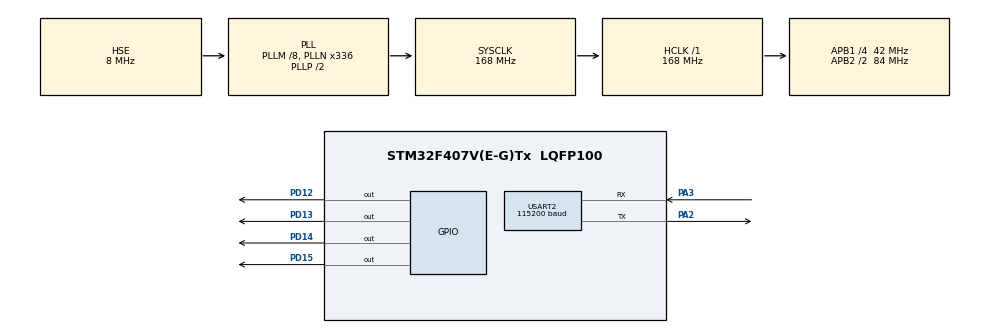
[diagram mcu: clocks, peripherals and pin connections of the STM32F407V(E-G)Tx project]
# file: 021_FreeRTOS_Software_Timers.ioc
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FREERTOS.Tasks01=defaultTask,24,128,StartDefaultTask,Default,NULL,Dynamic,NULL,NULL
FREERTOS.configUSE_NEWLIB_REENTRANT=1
Mcu.Family=STM32F4
Mcu.Name=STM32F407V(E-G)Tx
Mcu.Package=LQFP100
NVIC.PriorityGroup=NVIC_PRIORITYGROUP_4
NVIC.TIM8_TRG_COM_TIM14_IRQn=true\:15\:0\:false\:false\:true\:false\:false\:true\:true
NVIC.TimeBase=TIM8_TRG_COM_TIM14_IRQn
NVIC.TimeBaseIP=TIM14
NVIC.USART2_IRQn=true\:5\:0\:false\:false\:true\:true\:true\:true\:true
PA2.Mode=Asynchronous
PA2.Signal=USART2_TX
PA3.Mode=Asynchronous
PA3.Signal=USART2_RX
PD12.Signal=GPIO_Output
PD13.Signal=GPIO_Output
PD14.Signal=GPIO_Output
PD15.Signal=GPIO_Output
PH0-OSC_IN.Mode=HSE-External-Oscillator
PH0-OSC_IN.Signal=RCC_OSC_IN
PH1-OSC_OUT.Mode=HSE-External-Oscillator
PH1-OSC_OUT.Signal=RCC_OSC_OUT
ProjectManager.HeapSize=0x200
ProjectManager.StackSize=0x400
ProjectManager.TargetToolchain=STM32CubeIDE
RCC.48MHZClocksFreq_Value=48000000
RCC.AHBFreq_Value=168000000
RCC.APB1CLKDivider=RCC_HCLK_DIV4
RCC.APB1Freq_Value=42000000
RCC.APB1TimFreq_Value=84000000
RCC.APB2CLKDivider=RCC_HCLK_DIV2
RCC.APB2Freq_Value=84000000
RCC.APB2TimFreq_Value=168000000
RCC.CortexFreq_Value=168000000
RCC.HCLKFreq_Value=168000000
RCC.HSE_VALUE=8000000
RCC.HSI_VALUE=16000000
RCC.LSE_VALUE=32768
RCC.PLLM=8
RCC.PLLN=336
RCC.PLLQ=7
RCC.PLLSourceVirtual=RCC_PLLSOURCE_HSE
RCC.SYSCLKFreq_VALUE=168000000
RCC.SYSCLKSource=RCC_SYSCLKSOURCE_PLLCLK
RCC.VCOOutputFreq_Value=336000000
USART2.BaudRate=115200
USART2.VirtualMode=VM_ASYNC
VP_FREERTOS_VS_CMSIS_V2.Mode=CMSIS_V2
VP_SYS_VS_tim14.Mode=TIM14
board=STM32F407G-DISC1

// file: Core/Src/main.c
/* USER CODE BEGIN Header */
/**
  ******************************************************************************
  * @file           : main.c
  * @brief          : Main program body
  ******************************************************************************
  * @attention
  *
  * Copyright (c) 2023 STMicroelectronics.
  * All rights reserved.
  *
  * This software is licensed under terms that can be found in the LICENSE file
  * in the root directory of this software component.
  * If no LICENSE file comes with this software, it is provided AS-IS.
  *
  ******************************************************************************
  */
/* USER CODE END Header */
#include "main.h"

/* USER CODE BEGIN Includes */
#include "FreeRTOS.h"
#include "task.h"
#include "timers.h"
#include "queue.h"
#include <string.h>
#include <stdio.h>
/* USER CODE END Includes */

/* USER CODE BEGIN PD */
#define mainONE_SHOT_TIMER_PERIOD		pdMS_TO_TICKS( 3333 )
#define mainAUTO_RELOAD_TIMER_PERIOD	pdMS_TO_TICKS( 500 )
/* USER CODE END PD */

UART_HandleTypeDef huart2;

/* Definitions for defaultTask */

/* USER CODE BEGIN PV */
TimerHandle_t xAutoReloadTimer, xOneShotTimer;
BaseType_t xTimer1Started, xTimer2Started;
uint32_t ulCallCount = 0;
/* USER CODE END PV */

void SystemClock_Config(void);
static void MX_GPIO_Init(void);
static void MX_USART2_UART_Init(void);

/* USER CODE BEGIN 0 */
static void prvOneShotTimerCallback(TimerHandle_t xTimer)
{
	TickType_t xTimeNow;

	xTimeNow = xTaskGetTickCount();
	char buffer[50];
	sprintf(buffer, "One-shot timer callback executing : %ld", xTimeNow);
	HAL_UART_Transmit(&huart2, (uint8_t *)buffer, strlen(buffer), HAL_MAX_DELAY);
	ulCallCount++;
}
static void prvAutoReloadTimerCallback(TimerHandle_t xTimer)
{
	TickType_t xTimeNow;

	xTimeNow = xTaskGetTickCount();
	char buffer[50];
	sprintf(buffer, "Auto-reload timer callback executing, time : %ld", xTimeNow);
	HAL_UART_Transmit(&huart2, (uint8_t *)buffer, strlen(buffer), HAL_MAX_DELAY);
	ulCallCount++;
}
/* USER CODE END 0 */

int main(void)
{

  /* MCU Configuration--------------------------------------------------------*/

  /* Reset of all peripherals, Initializes the Flash interface and the Systick. */
  HAL_Init();

  /* Configure the system clock */
  SystemClock_Config();

  /* Initialize all configured peripherals */
  MX_GPIO_Init();
  MX_USART2_UART_Init();
  /* USER CODE BEGIN 2 */
  xOneShotTimer = xTimerCreate("OneShot", mainONE_SHOT_TIMER_PERIOD, pdFALSE, 0, prvOneShotTimerCallback);
  xAutoReloadTimer = xTimerCreate("AutoReload", mainAUTO_RELOAD_TIMER_PERIOD, pdTRUE, 0, prvAutoReloadTimerCallback);

  if((xOneShotTimer != NULL) && (xAutoReloadTimer != NULL))
  {
	  xTimer1Started = xTimerStart(xOneShotTimer, 0);
	  xTimer2Started = xTimerStart(xAutoReloadTimer, 0);

	  if((xTimer1Started == pdPASS) && (xTimer2Started == pdPASS))
	  {
		  vTaskStartScheduler();
	  }
  }
  /* USER CODE END 2 */

  /* Init scheduler */

  /* Create the thread(s) */
  /* creation of defaultTask */

  /* Start scheduler */

  /* We should never get here as control is now taken by the scheduler */
  /* Infinite loop */
  while (1)
  {

  }
}

void SystemClock_Config(void)
{
  RCC_OscInitTypeDef RCC_OscInitStruct = {0};
  RCC_ClkInitTypeDef RCC_ClkInitStruct = {0};

  /** Configure the main internal regulator output voltage
  */
  __HAL_RCC_PWR_CLK_ENABLE();
  __HAL_PWR_VOLTAGESCALING_CONFIG(PWR_REGULATOR_VOLTAGE_SCALE1);

  /** Initializes the RCC Oscillators according to the specified parameters
  * in the RCC_OscInitTypeDef structure.
  */
  RCC_OscInitStruct.OscillatorType = RCC_OSCILLATORTYPE_HSE;
  RCC_OscInitStruct.HSEState = RCC_HSE_ON;
  RCC_OscInitStruct.PLL.PLLState = RCC_PLL_ON;
  RCC_OscInitStruct.PLL.PLLSource = RCC_PLLSOURCE_HSE;
  RCC_OscInitStruct.PLL.PLLM = 8;
  RCC_OscInitStruct.PLL.PLLN = 336;
  RCC_OscInitStruct.PLL.PLLP = RCC_PLLP_DIV2;
  RCC_OscInitStruct.PLL.PLLQ = 7;
  if (HAL_RCC_OscConfig(&RCC_OscInitStruct) != HAL_OK)
  {
    Error_Handler();
  }

  /** Initializes the CPU, AHB and APB buses clocks
  */
  RCC_ClkInitStruct.ClockType = RCC_CLOCKTYPE_HCLK|RCC_CLOCKTYPE_SYSCLK
                              |RCC_CLOCKTYPE_PCLK1|RCC_CLOCKTYPE_PCLK2;
  RCC_ClkInitStruct.SYSCLKSource = RCC_SYSCLKSOURCE_PLLCLK;
  RCC_ClkInitStruct.AHBCLKDivider = RCC_SYSCLK_DIV1;
  RCC_ClkInitStruct.APB1CLKDivider = RCC_HCLK_DIV4;
  RCC_ClkInitStruct.APB2CLKDivider = RCC_HCLK_DIV2;

  if (HAL_RCC_ClockConfig(&RCC_ClkInitStruct, FLASH_LATENCY_5) != HAL_OK)
  {
    Error_Handler();
  }
}

static void MX_USART2_UART_Init(void)
{

  huart2.Instance = USART2;
  huart2.Init.BaudRate = 115200;
  huart2.Init.WordLength = UART_WORDLENGTH_8B;
  huart2.Init.StopBits = UART_STOPBITS_1;
  huart2.Init.Parity = UART_PARITY_NONE;
  huart2.Init.Mode = UART_MODE_TX_RX;
  huart2.Init.HwFlowCtl = UART_HWCONTROL_NONE;
  huart2.Init.OverSampling = UART_OVERSAMPLING_16;
  if (HAL_UART_Init(&huart2) != HAL_OK)
  {
    Error_Handler();
  }

}

static void MX_GPIO_Init(void)
{
  GPIO_InitTypeDef GPIO_InitStruct = {0};

  /* GPIO Ports Clock Enable */
  __HAL_RCC_GPIOH_CLK_ENABLE();
  __HAL_RCC_GPIOA_CLK_ENABLE();
  __HAL_RCC_GPIOD_CLK_ENABLE();

  /*Configure GPIO pin Output Level */
  HAL_GPIO_WritePin(GPIOD, GPIO_PIN_12|GPIO_PIN_13|GPIO_PIN_14|GPIO_PIN_15, GPIO_PIN_RESET);

  /*Configure GPIO pins : PD12 PD13 PD14 PD15 */
  GPIO_InitStruct.Pin = GPIO_PIN_12|GPIO_PIN_13|GPIO_PIN_14|GPIO_PIN_15;
  GPIO_InitStruct.Mode = GPIO_MODE_OUTPUT_PP;
  GPIO_InitStruct.Pull = GPIO_NOPULL;
  GPIO_InitStruct.Speed = GPIO_SPEED_FREQ_LOW;
  HAL_GPIO_Init(GPIOD, &GPIO_InitStruct);

}

void HAL_TIM_PeriodElapsedCallback(TIM_HandleTypeDef *htim)
{
  if (htim->Instance == TIM14) {
    HAL_IncTick();
  }
}

void Error_Handler(void)
{
  __disable_irq();
  while (1)
  {
  }
}
